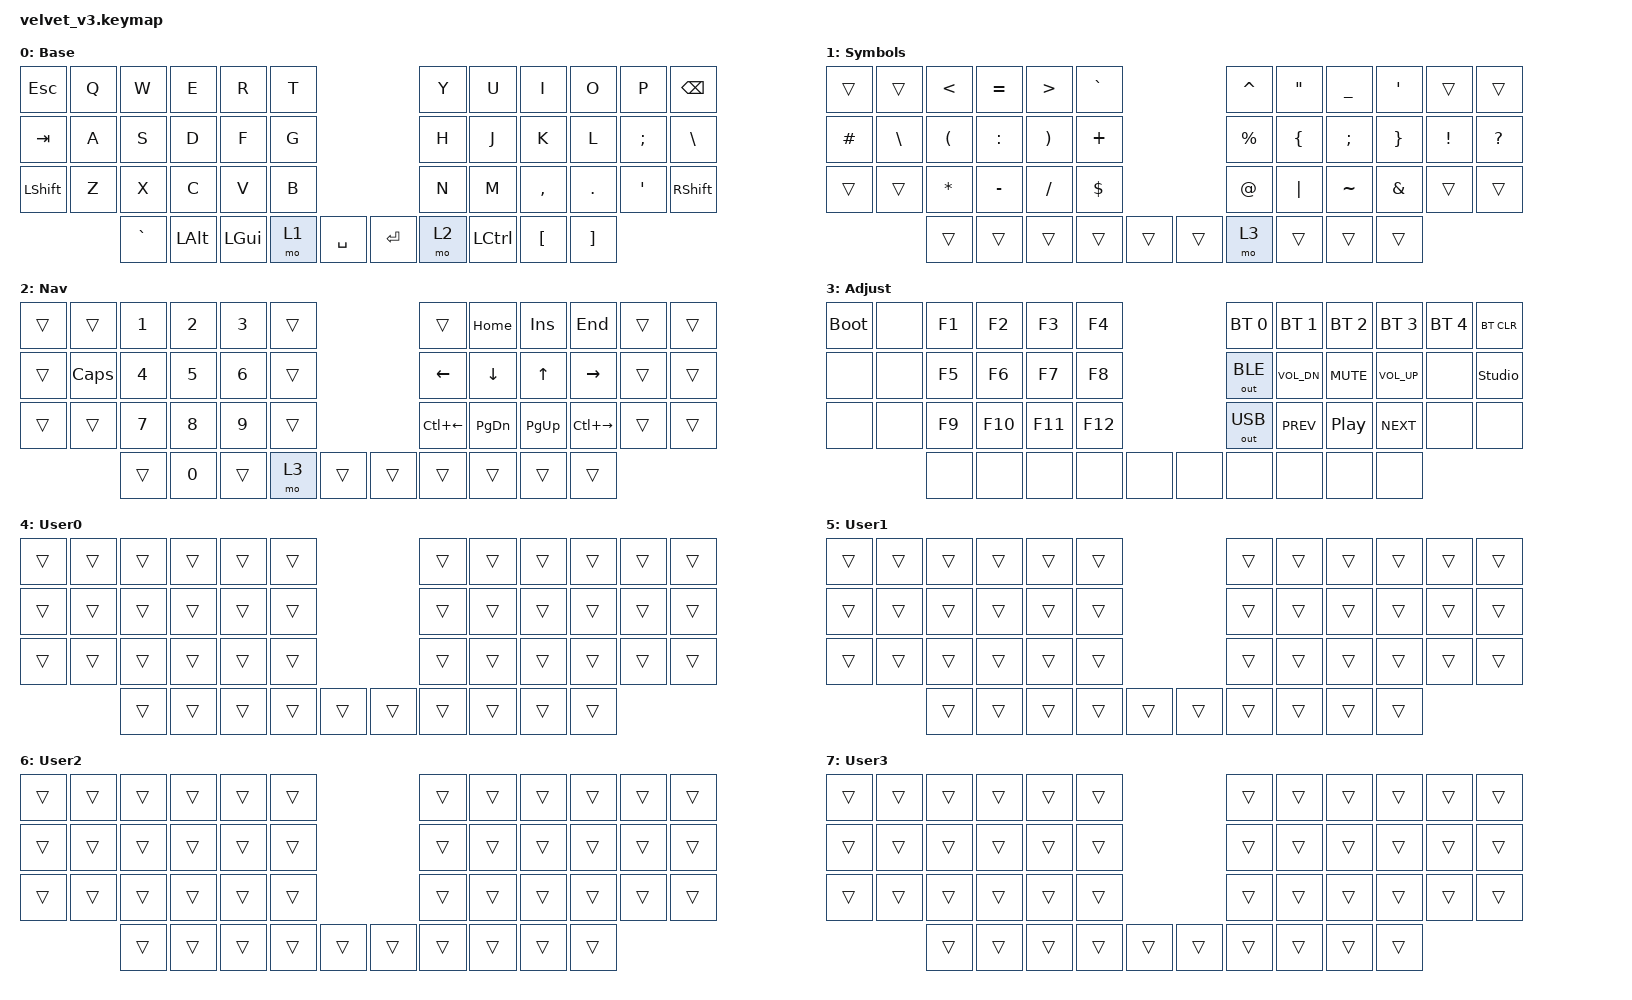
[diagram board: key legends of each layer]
#include "keys_ru.h"
#include <behaviors.dtsi>
#include <dt-bindings/zmk/bt.h>
#include <dt-bindings/zmk/keys.h>
#include <dt-bindings/zmk/outputs.h>

/ {
    keymap {
        compatible = "zmk,keymap";

        base {
            bindings = <
&kp ESC    &kp Q  &kp W      &kp E     &kp R     &kp T                        &kp Y  &kp U      &kp I      &kp O     &kp P     &kp BSPC
&kp TAB    &kp A  &kp S      &kp D     &kp F     &kp G                        &kp H  &kp J      &kp K      &kp L     &kp SEMI  &kp BSLH
&kp LSHFT  &kp Z  &kp X      &kp C     &kp V     &kp B                        &kp N  &kp M      &kp COMMA  &kp DOT   &kp SQT   &kp RSHFT
                  &kp GRAVE  &kp LALT  &kp LGUI  &mo 1  &kp SPACE    &kp RET  &mo 2  &kp LCTRL  &kp LBKT   &kp RBKT
            >;

            display-name = "Base";
        };

        sym {
            bindings = <
&trans    &trans    &kp LT    &kp EQUAL  &kp GT    &kp GRAVE                    &kp CARET  &kp DQT   &kp UNDER  &kp SQT   &trans    &trans
&kp HASH  &kp BSLH  &kp LPAR  &kp COLON  &kp RPAR  &kp PLUS                     &kp PRCNT  &kp LBRC  &kp SEMI   &kp RBRC  &kp EXCL  &kp QUESTION
&trans    &trans    &kp STAR  &kp MINUS  &kp FSLH  &kp DLLR                     &kp AT     &kp PIPE  &kp TILDE  &kp AMPS  &trans    &trans
                    &trans    &trans     &trans    &trans     &trans    &trans  &mo 3      &trans    &trans     &trans
            >;

            display-name = "Symbols";
        };

        nav {
            bindings = <
&trans  &trans    &kp N1  &kp N2  &kp N3  &trans                    &trans              &kp HOME   &kp INS    &kp END              &trans  &trans
&trans  &kp CLCK  &kp N4  &kp N5  &kp N6  &trans                    &kp LEFT            &kp DOWN   &kp UP     &kp RIGHT            &trans  &trans
&trans  &trans    &kp N7  &kp N8  &kp N9  &trans                    &kp LC(LEFT_ARROW)  &kp PG_DN  &kp PG_UP  &kp LC(RIGHT_ARROW)  &trans  &trans
                  &trans  &kp N0  &trans  &mo 3   &trans    &trans  &trans              &trans     &trans     &trans
            >;

            display-name = "Nav";
        };

        adj {
            bindings = <
&bootloader  &none  &kp F1  &kp F2   &kp F3   &kp F4                   &bt BT_SEL 0  &bt BT_SEL 1  &bt BT_SEL 2      &bt BT_SEL 3  &bt BT_SEL 4  &bt BT_CLR
&none        &none  &kp F5  &kp F6   &kp F7   &kp F8                   &out OUT_BLE  &kp C_VOL_DN  &kp C_MUTE        &kp C_VOL_UP  &none         &studio_unlock
&none        &none  &kp F9  &kp F10  &kp F11  &kp F12                  &out OUT_USB  &kp C_PREV    &kp C_PLAY_PAUSE  &kp C_NEXT    &none         &none
                    &none   &none    &none    &none    &none    &none  &none         &none         &none             &none
            >;

            display-name = "Adjust";
        };

        User0 {
            bindings = <
&trans  &trans  &trans  &trans  &trans  &trans                    &trans  &trans  &trans  &trans  &trans  &trans
&trans  &trans  &trans  &trans  &trans  &trans                    &trans  &trans  &trans  &trans  &trans  &trans
&trans  &trans  &trans  &trans  &trans  &trans                    &trans  &trans  &trans  &trans  &trans  &trans
                &trans  &trans  &trans  &trans  &trans    &trans  &trans  &trans  &trans  &trans
            >;

            display-name = "User0";
        };

        User1 {
            bindings = <
&trans  &trans  &trans  &trans  &trans  &trans                    &trans  &trans  &trans  &trans  &trans  &trans
&trans  &trans  &trans  &trans  &trans  &trans                    &trans  &trans  &trans  &trans  &trans  &trans
&trans  &trans  &trans  &trans  &trans  &trans                    &trans  &trans  &trans  &trans  &trans  &trans
                &trans  &trans  &trans  &trans  &trans    &trans  &trans  &trans  &trans  &trans
            >;

            display-name = "User1";
        };

        User2 {
            bindings = <
&trans  &trans  &trans  &trans  &trans  &trans                    &trans  &trans  &trans  &trans  &trans  &trans
&trans  &trans  &trans  &trans  &trans  &trans                    &trans  &trans  &trans  &trans  &trans  &trans
&trans  &trans  &trans  &trans  &trans  &trans                    &trans  &trans  &trans  &trans  &trans  &trans
                &trans  &trans  &trans  &trans  &trans    &trans  &trans  &trans  &trans  &trans
            >;

            display-name = "User2";
        };

        User3 {
            bindings = <
&trans  &trans  &trans  &trans  &trans  &trans                    &trans  &trans  &trans  &trans  &trans  &trans
&trans  &trans  &trans  &trans  &trans  &trans                    &trans  &trans  &trans  &trans  &trans  &trans
&trans  &trans  &trans  &trans  &trans  &trans                    &trans  &trans  &trans  &trans  &trans  &trans
                &trans  &trans  &trans  &trans  &trans    &trans  &trans  &trans  &trans  &trans
            >;

            display-name = "User3";
        };
    };
};
